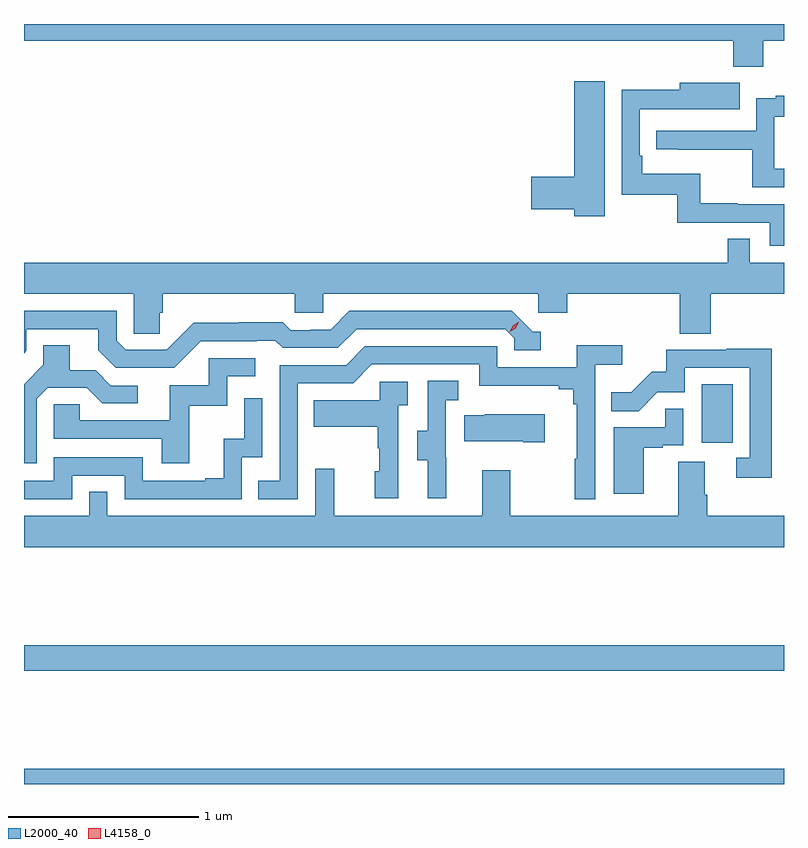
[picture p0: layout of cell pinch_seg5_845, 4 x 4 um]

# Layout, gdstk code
import gdstk
lib = gdstk.Library(unit=1e-6, precision=1e-09)
def R(c, l, rs):  # rectangles x0, y0, x1, y1
    for r in rs: c.add(gdstk.rectangle(r[:2], r[2:], *l))
def P(c, l, *ps):  # polygons
    for p in ps: c.add(gdstk.Polygon(p, *l))
L2000_40 = (2000, 40)
L4158_0 = (4158, 0)

pinch_seg5_845 = lib.new_cell('pinch_seg5_845')
R(pinch_seg5_845, L2000_40, [(850.661,879.489,854.661,879.568), (850.661,880.084,854.661,880.22), (854.228,881.286,854.392,881.593)])
P(pinch_seg5_845, L2000_40, [(854.553,883.4),(854.661,883.4),(854.661,883.489),(850.661,883.489),(850.661,883.4),(854.393,883.4),(854.393,883.265),(854.553,883.265)],
  [(853.717,883.189),(853.556,883.189),(853.556,882.686),(853.332,882.686),(853.332,882.515),(853.556,882.515),(853.556,882.476),(853.717,882.476)],
  [(854.661,882.54),(854.417,882.54),(854.417,882.545),(854.221,882.545),(854.221,882.7),(853.916,882.7),(853.916,882.796),(853.902,882.796),(853.902,883.041),(854.215,883.041),(854.215,883.04),(854.429,883.04),(854.429,883.18),(854.111,883.18),(854.111,883.142),(853.806,883.142),(853.806,882.591),(854.1,882.591),(854.1,882.444),(854.586,882.444),(854.586,882.321),(854.661,882.321)],
  [(854.661,882.726),(854.61,882.726),(854.61,883.002),(854.661,883.002),(854.661,883.111),(854.617,883.111),(854.617,883.099),(854.514,883.099),(854.514,882.927),(853.989,882.927),(853.989,882.831),(854.101,882.831),(854.101,882.826),(854.494,882.826),(854.494,882.63),(854.661,882.63)],
  [(851.375,881.97),(851.39,881.97),(851.39,882.068),(852.087,882.068),(852.087,881.97),(852.237,881.97),(852.237,882.068),(853.368,882.068),(853.368,881.97),(853.52,881.97),(853.52,882.068),(854.111,882.068),(854.111,881.86),(854.276,881.86),(854.276,882.068),(854.661,882.068),(854.661,882.232),(854.481,882.232),(854.481,882.359),(854.365,882.359),(854.365,882.232),(850.661,882.232),(850.661,882.068),(851.238,882.068),(851.238,881.86),(851.375,881.86)],
  [(851.592,881.82),(851.885,881.82),(851.885,881.823),(851.984,881.823),(852.023,881.784),(852.312,881.784),(852.411,881.883),(853.194,881.883),(853.242,881.835),(853.242,881.772),(853.381,881.772),(853.381,881.868),(853.338,881.868),(853.227,881.979),(852.374,881.979),(852.275,881.88),(852.168,881.88),(852.168,881.877),(852.065,881.877),(852.023,881.92),(851.79,881.92),(851.79,881.917),(851.554,881.917),(851.412,881.775),(851.196,881.775),(851.148,881.823),(851.148,881.979),(850.661,881.979),(850.661,881.756),(850.674,881.769),(850.674,881.883),(851.051,881.883),(851.051,881.773),(851.145,881.679),(851.451,881.679)],
  [(852.102,881.598),(852.393,881.598),(852.492,881.697),(853.056,881.697),(853.056,881.585),(853.475,881.585),(853.475,881.566),(853.552,881.566),(853.552,881.489),(853.571,881.489),(853.571,881.201),(853.56,881.201),(853.56,880.989),(853.668,880.989),(853.668,881.696),(853.81,881.696),(853.81,881.798),(853.571,881.798),(853.571,881.682),(853.152,881.682),(853.152,881.793),(852.455,881.793),(852.356,881.694),(852.006,881.694),(852.006,881.085),(851.893,881.085),(851.893,880.989),(852.102,880.989)],
  [(850.728,881.517),(850.785,881.574),(850.991,881.574),(851.072,881.493),(851.26,881.493),(851.26,881.586),(851.118,881.586),(851.038,881.666),(850.903,881.666),(850.903,881.798),(850.763,881.798),(850.763,881.696),(850.661,881.594),(850.661,881.178),(850.728,881.178)],
  [(854.597,881.78),(854.359,881.78),(854.359,881.775),(854.041,881.775),(854.041,881.658),(853.964,881.658),(853.857,881.551),(853.753,881.551),(853.753,881.452),(853.897,881.452),(853.995,881.55),(854.139,881.55),(854.139,881.679),(854.481,881.679),(854.481,881.205),(854.409,881.205),(854.409,881.1),(854.597,881.1)],
  [(851.531,881.481),(851.73,881.481),(851.73,881.634),(851.878,881.634),(851.878,881.73),(851.634,881.73),(851.634,881.589),(851.429,881.589),(851.429,881.403),(850.955,881.403),(850.955,881.487),(850.818,881.487),(850.818,881.307),(851.387,881.307),(851.387,881.178),(851.531,881.178)],
  [(852.884,881.205),(852.882,881.205),(852.882,881.509),(852.946,881.509),(852.946,881.612),(852.786,881.612),(852.786,881.349),(852.731,881.349),(852.731,881.194),(852.785,881.194),(852.785,880.992),(852.884,880.992)],
  [(852.63,881.483),(852.682,881.483),(852.682,881.607),(852.534,881.607),(852.534,881.509),(852.187,881.509),(852.187,881.369),(852.522,881.369),(852.522,881.255),(852.532,881.255),(852.532,881.136),(852.506,881.136),(852.506,880.992),(852.63,880.992)],
  [(850.914,881.112),(851.19,881.112),(851.19,880.989),(851.808,880.989),(851.808,881.208),(851.916,881.208),(851.916,881.518),(851.82,881.518),(851.82,881.306),(851.711,881.306),(851.711,881.098),(851.615,881.098),(851.615,881.085),(851.286,881.085),(851.286,881.208),(850.818,881.208),(850.818,881.085),(850.661,881.085),(850.661,880.989),(850.914,880.989)],
  [(853.924,881.259),(854.024,881.259),(854.024,881.271),(854.13,881.271),(854.13,881.465),(854.035,881.465),(854.035,881.367),(853.766,881.367),(853.766,881.016),(853.924,881.016)],
  [(853.402,881.434),(853.087,881.434),(853.087,881.431),(852.979,881.431),(852.979,881.294),(853.289,881.294),(853.289,881.287),(853.402,881.287)],
  [(854.661,880.9),(854.258,880.9),(854.258,881.012),(854.245,881.012),(854.245,881.186),(854.105,881.186),(854.105,880.9),(853.221,880.9),(853.221,881.14),(853.073,881.14),(853.073,880.9),(852.293,880.9),(852.293,881.149),(852.195,881.149),(852.195,880.9),(851.1,880.9),(851.1,881.027),(851.004,881.027),(851.004,880.9),(850.661,880.9),(850.661,880.736),(854.661,880.736)])
P(pinch_seg5_845, L4158_0, [(853.218,881.869),(853.218,881.869),(853.234,881.902),(853.265,881.921),(853.266,881.921),(853.266,881.92),(853.249,881.888),(853.218,881.869)])

lib.write_gds('pinch_seg5_845.gds')
